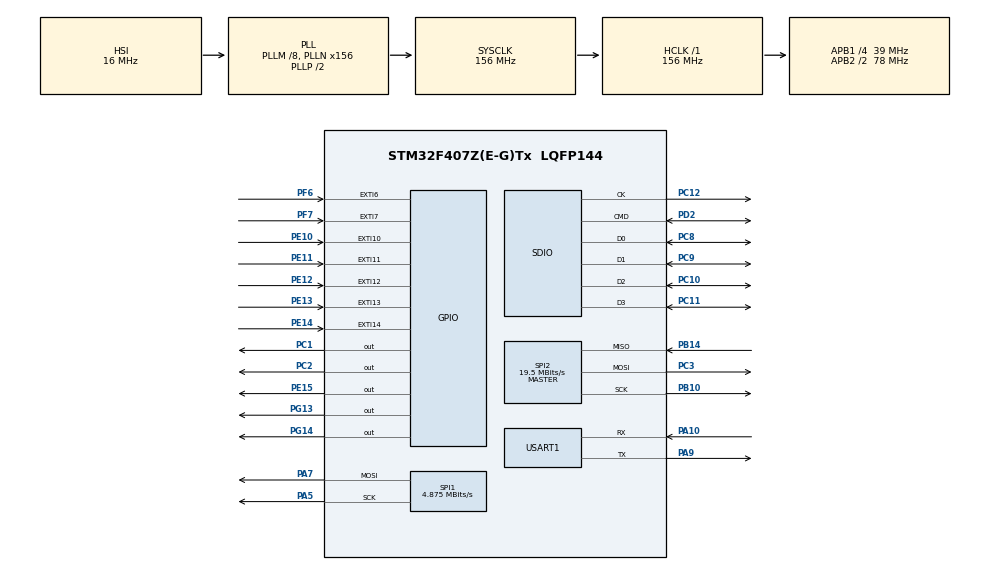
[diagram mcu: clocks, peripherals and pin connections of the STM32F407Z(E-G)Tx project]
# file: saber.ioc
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Dma.Request0=SDIO_RX
Dma.Request1=SDIO_TX
Dma.Request2=SPI1_TX
Dma.Request3=USART1_RX
Dma.Request4=USART1_TX
Dma.Request5=SPI2_TX
Dma.SDIO_RX.0.Direction=DMA_PERIPH_TO_MEMORY
Dma.SDIO_RX.0.FIFOMode=DMA_FIFOMODE_ENABLE
Dma.SDIO_RX.0.FIFOThreshold=DMA_FIFO_THRESHOLD_FULL
Dma.SDIO_RX.0.Instance=DMA2_Stream3
Dma.SDIO_RX.0.MemBurst=DMA_MBURST_INC4
Dma.SDIO_RX.0.MemDataAlignment=DMA_MDATAALIGN_WORD
Dma.SDIO_RX.0.MemInc=DMA_MINC_ENABLE
Dma.SDIO_RX.0.Mode=DMA_PFCTRL
Dma.SDIO_RX.0.PeriphBurst=DMA_PBURST_INC4
Dma.SDIO_RX.0.PeriphDataAlignment=DMA_PDATAALIGN_WORD
Dma.SDIO_RX.0.PeriphInc=DMA_PINC_DISABLE
Dma.SDIO_RX.0.Priority=DMA_PRIORITY_LOW
Dma.SDIO_TX.1.Direction=DMA_MEMORY_TO_PERIPH
Dma.SDIO_TX.1.FIFOMode=DMA_FIFOMODE_ENABLE
Dma.SDIO_TX.1.FIFOThreshold=DMA_FIFO_THRESHOLD_FULL
Dma.SDIO_TX.1.Instance=DMA2_Stream6
Dma.SDIO_TX.1.MemBurst=DMA_MBURST_INC4
Dma.SDIO_TX.1.MemDataAlignment=DMA_MDATAALIGN_WORD
Dma.SDIO_TX.1.MemInc=DMA_MINC_ENABLE
Dma.SDIO_TX.1.Mode=DMA_PFCTRL
Dma.SDIO_TX.1.PeriphBurst=DMA_PBURST_INC4
Dma.SDIO_TX.1.PeriphDataAlignment=DMA_PDATAALIGN_WORD
Dma.SDIO_TX.1.PeriphInc=DMA_PINC_DISABLE
Dma.SDIO_TX.1.Priority=DMA_PRIORITY_LOW
Dma.SPI1_TX.2.Direction=DMA_MEMORY_TO_PERIPH
Dma.SPI1_TX.2.FIFOMode=DMA_FIFOMODE_DISABLE
Dma.SPI1_TX.2.Instance=DMA2_Stream5
Dma.SPI1_TX.2.MemDataAlignment=DMA_MDATAALIGN_BYTE
Dma.SPI1_TX.2.MemInc=DMA_MINC_ENABLE
Dma.SPI1_TX.2.Mode=DMA_NORMAL
Dma.SPI1_TX.2.PeriphDataAlignment=DMA_PDATAALIGN_BYTE
Dma.SPI1_TX.2.PeriphInc=DMA_PINC_DISABLE
Dma.SPI1_TX.2.Priority=DMA_PRIORITY_LOW
Dma.SPI2_TX.5.Direction=DMA_MEMORY_TO_PERIPH
Dma.SPI2_TX.5.FIFOMode=DMA_FIFOMODE_DISABLE
Dma.SPI2_TX.5.Instance=DMA1_Stream4
Dma.SPI2_TX.5.MemDataAlignment=DMA_MDATAALIGN_BYTE
Dma.SPI2_TX.5.MemInc=DMA_MINC_ENABLE
Dma.SPI2_TX.5.Mode=DMA_NORMAL
Dma.SPI2_TX.5.PeriphDataAlignment=DMA_PDATAALIGN_BYTE
Dma.SPI2_TX.5.PeriphInc=DMA_PINC_DISABLE
Dma.SPI2_TX.5.Priority=DMA_PRIORITY_LOW
Dma.USART1_RX.3.Direction=DMA_PERIPH_TO_MEMORY
Dma.USART1_RX.3.FIFOMode=DMA_FIFOMODE_DISABLE
Dma.USART1_RX.3.Instance=DMA2_Stream2
Dma.USART1_RX.3.MemDataAlignment=DMA_MDATAALIGN_BYTE
Dma.USART1_RX.3.MemInc=DMA_MINC_ENABLE
Dma.USART1_RX.3.Mode=DMA_NORMAL
Dma.USART1_RX.3.PeriphDataAlignment=DMA_PDATAALIGN_BYTE
Dma.USART1_RX.3.PeriphInc=DMA_PINC_DISABLE
Dma.USART1_RX.3.Priority=DMA_PRIORITY_LOW
Dma.USART1_TX.4.Direction=DMA_MEMORY_TO_PERIPH
Dma.USART1_TX.4.FIFOMode=DMA_FIFOMODE_DISABLE
Dma.USART1_TX.4.Instance=DMA2_Stream7
Dma.USART1_TX.4.MemDataAlignment=DMA_MDATAALIGN_BYTE
Dma.USART1_TX.4.MemInc=DMA_MINC_ENABLE
Dma.USART1_TX.4.Mode=DMA_NORMAL
Dma.USART1_TX.4.PeriphDataAlignment=DMA_PDATAALIGN_BYTE
Dma.USART1_TX.4.PeriphInc=DMA_PINC_DISABLE
Dma.USART1_TX.4.Priority=DMA_PRIORITY_LOW
FATFS.USE_DMA_CODE_SD=1
FATFS._CODE_PAGE=936
FATFS._USE_LFN=3
Mcu.Family=STM32F4
Mcu.Name=STM32F407Z(E-G)Tx
Mcu.Package=LQFP144
NVIC.DMA1_Stream4_IRQn=true\:0\:0\:false\:false\:true\:false\:true\:true
NVIC.DMA2_Stream2_IRQn=true\:0\:0\:false\:false\:true\:false\:true\:true
NVIC.DMA2_Stream3_IRQn=true\:0\:0\:false\:false\:true\:false\:true\:true
NVIC.DMA2_Stream5_IRQn=true\:0\:0\:false\:false\:true\:false\:true\:true
NVIC.DMA2_Stream6_IRQn=true\:0\:0\:false\:false\:true\:false\:true\:true
NVIC.DMA2_Stream7_IRQn=true\:0\:0\:false\:false\:true\:false\:true\:true
NVIC.EXTI15_10_IRQn=true\:0\:0\:false\:false\:true\:true\:true\:true
NVIC.EXTI9_5_IRQn=true\:0\:0\:false\:false\:true\:true\:true\:true
NVIC.PriorityGroup=NVIC_PRIORITYGROUP_4
NVIC.RCC_IRQn=true\:0\:0\:false\:false\:true\:true\:false\:true
NVIC.SDIO_IRQn=true\:0\:0\:false\:false\:true\:true\:true\:true
NVIC.SPI1_IRQn=true\:0\:0\:false\:false\:true\:true\:true\:true
NVIC.TIM8_UP_TIM13_IRQn=true\:0\:0\:false\:false\:true\:true\:true\:true
NVIC.USART1_IRQn=true\:0\:0\:false\:false\:true\:true\:true\:true
PA10.Mode=Asynchronous
PA10.Signal=USART1_RX
PA13.Mode=Serial_Wire
PA13.Signal=SYS_JTMS-SWDIO
PA14.Mode=Serial_Wire
PA14.Signal=SYS_JTCK-SWCLK
PA5.Mode=TX_Only_Simplex_Unidirect_Master
PA5.Signal=SPI1_SCK
PA7.Mode=TX_Only_Simplex_Unidirect_Master
PA7.Signal=SPI1_MOSI
PA9.Mode=Asynchronous
PA9.Signal=USART1_TX
PB10.Mode=Full_Duplex_Master
PB10.Signal=SPI2_SCK
PB14.Mode=Full_Duplex_Master
PB14.Signal=SPI2_MISO
PC1.Signal=GPIO_Output
PC10.Mode=SD_4_bits_Wide_bus
PC10.Signal=SDIO_D2
PC11.Mode=SD_4_bits_Wide_bus
PC11.Signal=SDIO_D3
PC12.Mode=SD_4_bits_Wide_bus
PC12.Signal=SDIO_CK
PC2.Signal=GPIO_Output
PC3.Mode=Full_Duplex_Master
PC3.Signal=SPI2_MOSI
PC8.Mode=SD_4_bits_Wide_bus
PC8.Signal=SDIO_D0
PC9.Mode=SD_4_bits_Wide_bus
PC9.Signal=SDIO_D1
PD2.Mode=SD_4_bits_Wide_bus
PD2.Signal=SDIO_CMD
PE10.GPIO_ModeDefaultEXTI=GPIO_MODE_IT_FALLING
PE10.GPIO_PuPd=GPIO_PULLUP
PE10.Signal=GPXTI10
PE11.GPIO_ModeDefaultEXTI=GPIO_MODE_IT_FALLING
PE11.GPIO_PuPd=GPIO_PULLUP
PE11.Signal=GPXTI11
PE12.GPIO_ModeDefaultEXTI=GPIO_MODE_IT_FALLING
PE12.GPIO_PuPd=GPIO_PULLUP
PE12.Signal=GPXTI12
PE13.GPIO_ModeDefaultEXTI=GPIO_MODE_IT_FALLING
PE13.GPIO_PuPd=GPIO_PULLUP
PE13.Signal=GPXTI13
PE14.GPIO_ModeDefaultEXTI=GPIO_MODE_IT_FALLING
PE14.GPIO_PuPd=GPIO_PULLUP
PE14.Signal=GPXTI14
PE15.GPIO_PuPd=GPIO_PULLDOWN
PE15.Signal=GPIO_Output
PF6.GPIO_PuPd=GPIO_PULLUP
PF6.Signal=GPXTI6
PF7.GPIO_PuPd=GPIO_PULLUP
PF7.Signal=GPXTI7
PG13.Signal=GPIO_Output
PG14.Signal=GPIO_Output
ProjectManager.HeapSize=0x400
ProjectManager.StackSize=0x1000
ProjectManager.TargetToolchain=MDK-ARM V5.32
RCC.48MHZClocksFreq_Value=44571428.571428575
RCC.AHBFreq_Value=156000000
RCC.APB1CLKDivider=RCC_HCLK_DIV4
RCC.APB1Freq_Value=39000000
RCC.APB1TimFreq_Value=78000000
RCC.APB2CLKDivider=RCC_HCLK_DIV2
RCC.APB2Freq_Value=78000000
RCC.APB2TimFreq_Value=156000000
RCC.CortexFreq_Value=156000000
RCC.HCLKFreq_Value=156000000
RCC.HSE_VALUE=25000000
RCC.HSI_VALUE=16000000
RCC.LSE_VALUE=32768
RCC.PLLM=8
RCC.PLLN=156
RCC.PLLQ=7
RCC.SYSCLKFreq_VALUE=156000000
RCC.SYSCLKSource=RCC_SYSCLKSOURCE_PLLCLK
RCC.VCOOutputFreq_Value=312000000
SDIO.ClockDiv=0
SPI1.BaudRatePrescaler=SPI_BAUDRATEPRESCALER_16
SPI1.CalculateBaudRate=4.875 MBits/s
SPI1.Direction=SPI_DIRECTION_2LINES
SPI1.Mode=SPI_MODE_MASTER
SPI1.VirtualType=VM_MASTER
SPI2.BaudRatePrescaler=SPI_BAUDRATEPRESCALER_2
SPI2.CLKPhase=SPI_PHASE_2EDGE
SPI2.CLKPolarity=SPI_POLARITY_HIGH
SPI2.CalculateBaudRate=19.5 MBits/s
SPI2.DataSize=SPI_DATASIZE_8BIT
SPI2.Direction=SPI_DIRECTION_2LINES
SPI2.Mode=SPI_MODE_MASTER
SPI2.VirtualType=VM_MASTER
TIM13.Period=1040
TIM13.Prescaler=100
USART1.VirtualMode=VM_ASYNC
VP_FATFS_VS_SDIO.Mode=SDIO
VP_TIM13_VS_ClockSourceINT.Mode=Enable_Timer
board=custom

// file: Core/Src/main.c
/* USER CODE BEGIN Header */
/**
  ******************************************************************************
  * @file           : main.c
  * @brief          : Main program body
  ******************************************************************************
  * @attention
  *
  * Copyright (c) 2022 STMicroelectronics.
  * All rights reserved.
  *
  * This software is licensed under terms that can be found in the LICENSE file
  * in the root directory of this software component.
  * If no LICENSE file comes with this software, it is provided AS-IS.
  *
  ******************************************************************************
  */
/* USER CODE END Header */
#include "main.h"
#include "dma.h"
#include "fatfs.h"
#include "sdio.h"
#include "spi.h"
#include "tim.h"
#include "usart.h"
#include "gpio.h"

/* USER CODE BEGIN Includes */
#include "OLED.h"
#include "SDCard.h"
#include "ws2812.h"
#include "menu.h"
/* USER CODE END Includes */

/* USER CODE BEGIN PV */
uint8_t refleshFlag = 0;

/* USER CODE END PV */

void SystemClock_Config(void);

int main(void)
{

  /* MCU Configuration--------------------------------------------------------*/

  /* Reset of all peripherals, Initializes the Flash interface and the Systick. */
  HAL_Init();

  /* Configure the system clock */
  SystemClock_Config();

  /* Initialize all configured peripherals */
  MX_GPIO_Init();
  MX_DMA_Init();
  MX_SDIO_SD_Init();
  MX_SPI1_Init();
  MX_FATFS_Init();
  MX_USART1_UART_Init();
  MX_SPI2_Init();
  MX_TIM13_Init();
  /* USER CODE BEGIN 2 */
	HAL_TIM_Base_Start_IT(&htim13);
	SDCardSetting();//挂载文件系统
	OLED_Init();
	OLED_Fill(0);
	ModeMenu();

  /* USER CODE END 2 */

  /* Infinite loop */
  while (1)
  {

    /* USER CODE BEGIN 3 */
		if(refleshFlag == 1)
		{
			refleshFlag = 0;
			ModeMenu();
		}
		switch(WorkMode)
		{
			case saber:
			{
				switch(WorkSaberType)
				{
					case run1:
					{
						RGB_Contorl_0();
						break;
					}
					case run2:
					{
						RGB_Contorl_1();
						break;
					}
					case run3:
					{
						RGB_Contorl_2();
						break;
					}
					case pl1:
					{
						patternDecoder("0:/pl/pl1.bmp");
						break;
					}
					case pl2:
					{
						patternDecoder("0:/pl/pl2.bmp");
						break;
					}
					case pl3:
					{
						patternDecoder("0:/pl/pl3.bmp");
						break;
					}
					case pl4:
					{
						patternDecoder("0:/pl/pl4.bmp");
						break;
					}
					case pl5:
					{
						patternDecoder("0:/pl/pl5.bmp");
						break;
					}
					case RED:
					case GREEN:
					case BLUE:
					case YELLOW:
					case MAGENTA:
					case BLACK:
					case WHITE:
					{
						RGB_Color(WorkSaberType);
						break;
					}
				}
				break;
			}
			case printer:
			{
				if(printerFlag)
				{
					/* 如果未选择图片，打印默认图片 */
					if(imageName[0] == 0)sprintf(imageName,"0:/image/image1.bmp");
					/* 在开始打印前将灯光都关闭 */
					HAL_GPIO_WritePin(GPIOG,GPIO_PIN_13|GPIO_PIN_14,GPIO_PIN_SET);
					fileDecoder(imageName);
					HAL_GPIO_WritePin(GPIOG,GPIO_PIN_13|GPIO_PIN_14,GPIO_PIN_RESET);
					/* 打印标志位重新置0 */
					printerFlag = 0;

				}
				break;
			}
		}

  }
  /* USER CODE END 3 */
}

void SystemClock_Config(void)
{
  RCC_OscInitTypeDef RCC_OscInitStruct = {0};
  RCC_ClkInitTypeDef RCC_ClkInitStruct = {0};

  /** Configure the main internal regulator output voltage
  */
  __HAL_RCC_PWR_CLK_ENABLE();
  __HAL_PWR_VOLTAGESCALING_CONFIG(PWR_REGULATOR_VOLTAGE_SCALE1);

  /** Initializes the RCC Oscillators according to the specified parameters
  * in the RCC_OscInitTypeDef structure.
  */
  RCC_OscInitStruct.OscillatorType = RCC_OSCILLATORTYPE_HSI;
  RCC_OscInitStruct.HSIState = RCC_HSI_ON;
  RCC_OscInitStruct.HSICalibrationValue = RCC_HSICALIBRATION_DEFAULT;
  RCC_OscInitStruct.PLL.PLLState = RCC_PLL_ON;
  RCC_OscInitStruct.PLL.PLLSource = RCC_PLLSOURCE_HSI;
  RCC_OscInitStruct.PLL.PLLM = 8;
  RCC_OscInitStruct.PLL.PLLN = 156;
  RCC_OscInitStruct.PLL.PLLP = RCC_PLLP_DIV2;
  RCC_OscInitStruct.PLL.PLLQ = 7;
  if (HAL_RCC_OscConfig(&RCC_OscInitStruct) != HAL_OK)
  {
    Error_Handler();
  }

  /** Initializes the CPU, AHB and APB buses clocks
  */
  RCC_ClkInitStruct.ClockType = RCC_CLOCKTYPE_HCLK|RCC_CLOCKTYPE_SYSCLK
                              |RCC_CLOCKTYPE_PCLK1|RCC_CLOCKTYPE_PCLK2;
  RCC_ClkInitStruct.SYSCLKSource = RCC_SYSCLKSOURCE_PLLCLK;
  RCC_ClkInitStruct.AHBCLKDivider = RCC_SYSCLK_DIV1;
  RCC_ClkInitStruct.APB1CLKDivider = RCC_HCLK_DIV4;
  RCC_ClkInitStruct.APB2CLKDivider = RCC_HCLK_DIV2;

  if (HAL_RCC_ClockConfig(&RCC_ClkInitStruct, FLASH_LATENCY_5) != HAL_OK)
  {
    Error_Handler();
  }
}

void Error_Handler(void)
{
  __disable_irq();
  while (1)
  {
  }
}
